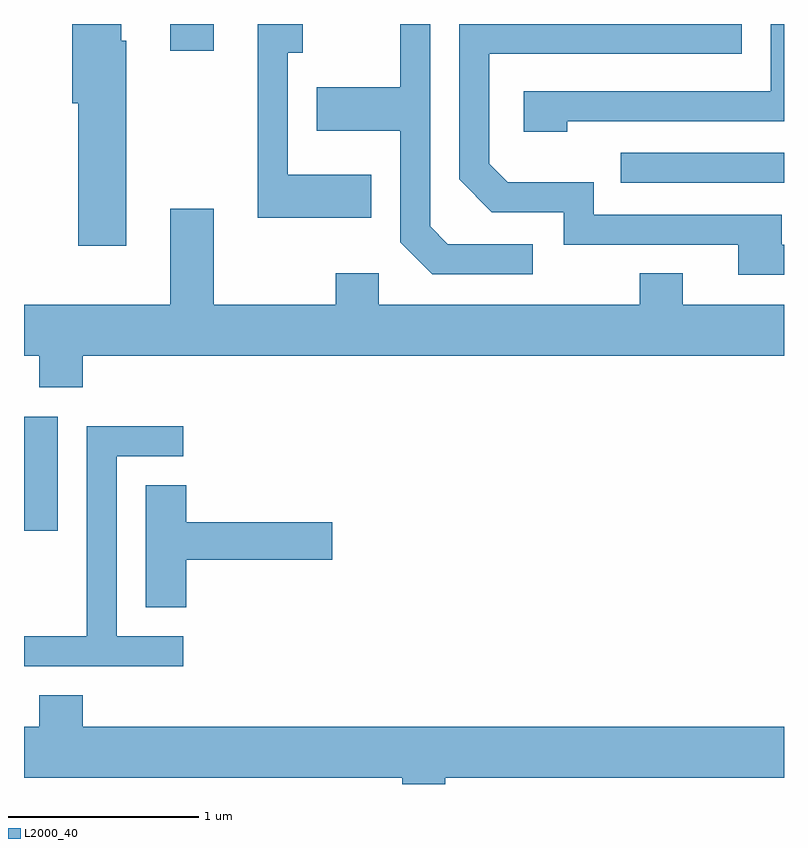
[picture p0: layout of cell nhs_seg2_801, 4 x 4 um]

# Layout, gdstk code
import gdstk
lib = gdstk.Library(unit=1e-6, precision=1e-09)
def R(c, l, rs):  # rectangles x0, y0, x1, y1
    for r in rs: c.add(gdstk.rectangle(r[:2], r[2:], *l))
def P(c, l, *ps):  # polygons
    for p in ps: c.add(gdstk.Polygon(p, *l))
L2000_40 = (2000, 40)

nhs_seg2_801 = lib.new_cell('nhs_seg2_801')
R(nhs_seg2_801, L2000_40, [(207.611,1085.136,207.789,1085.734), (210.753,1086.966,211.611,1087.124), (208.381,1087.661,208.609,1087.802)])
P(nhs_seg2_801, L2000_40, [(210.469,1087.291),(211.611,1087.291),(211.611,1087.802),(211.541,1087.802),(211.541,1087.449),(210.241,1087.449),(210.241,1087.236),(210.469,1087.236)],
  [(208.149,1087.714),(208.124,1087.714),(208.124,1087.802),(207.866,1087.802),(207.866,1087.386),(207.896,1087.386),(207.896,1086.636),(208.149,1086.636)],
  [(209.439,1087.009),(208.999,1087.009),(208.999,1087.651),(209.078,1087.651),(209.078,1087.802),(208.841,1087.802),(208.841,1086.781),(209.439,1086.781)],
  [(210.288,1086.644),(209.842,1086.644),(209.749,1086.737),(209.749,1087.802),(209.591,1087.802),(209.591,1087.469),(209.151,1087.469),(209.151,1087.241),(209.591,1087.241),(209.591,1086.654),(209.759,1086.486),(210.288,1086.486)],
  [(211.611,1086.639),(211.599,1086.639),(211.599,1086.799),(210.609,1086.799),(210.609,1086.969),(210.157,1086.969),(210.059,1087.067),(210.059,1087.646),(211.389,1087.646),(211.389,1087.802),(209.901,1087.802),(209.901,1086.984),(210.074,1086.811),(210.451,1086.811),(210.451,1086.641),(211.371,1086.641),(211.371,1086.481),(211.611,1086.481)],
  [(207.919,1086.056),(211.611,1086.056),(211.611,1086.324),(211.079,1086.324),(211.079,1086.489),(210.851,1086.489),(210.851,1086.324),(209.479,1086.324),(209.479,1086.489),(209.251,1086.489),(209.251,1086.324),(208.609,1086.324),(208.609,1086.829),(208.381,1086.829),(208.381,1086.324),(207.611,1086.324),(207.611,1086.056),(207.691,1086.056),(207.691,1085.891),(207.919,1085.891)],
  [(208.448,1084.579),(208.099,1084.579),(208.099,1085.526),(208.448,1085.526),(208.448,1085.684),(207.941,1085.684),(207.941,1084.579),(207.611,1084.579),(207.611,1084.421),(208.448,1084.421)],
  [(208.464,1084.981),(209.234,1084.981),(209.234,1085.179),(208.464,1085.179),(208.464,1085.374),(208.251,1085.374),(208.251,1084.731),(208.464,1084.731)],
  [(209.829,1083.836),(211.611,1083.836),(211.611,1084.104),(207.919,1084.104),(207.919,1084.269),(207.691,1084.269),(207.691,1084.104),(207.611,1084.104),(207.611,1083.836),(209.601,1083.836),(209.601,1083.802),(209.829,1083.802)])

lib.write_gds('nhs_seg2_801.gds')
